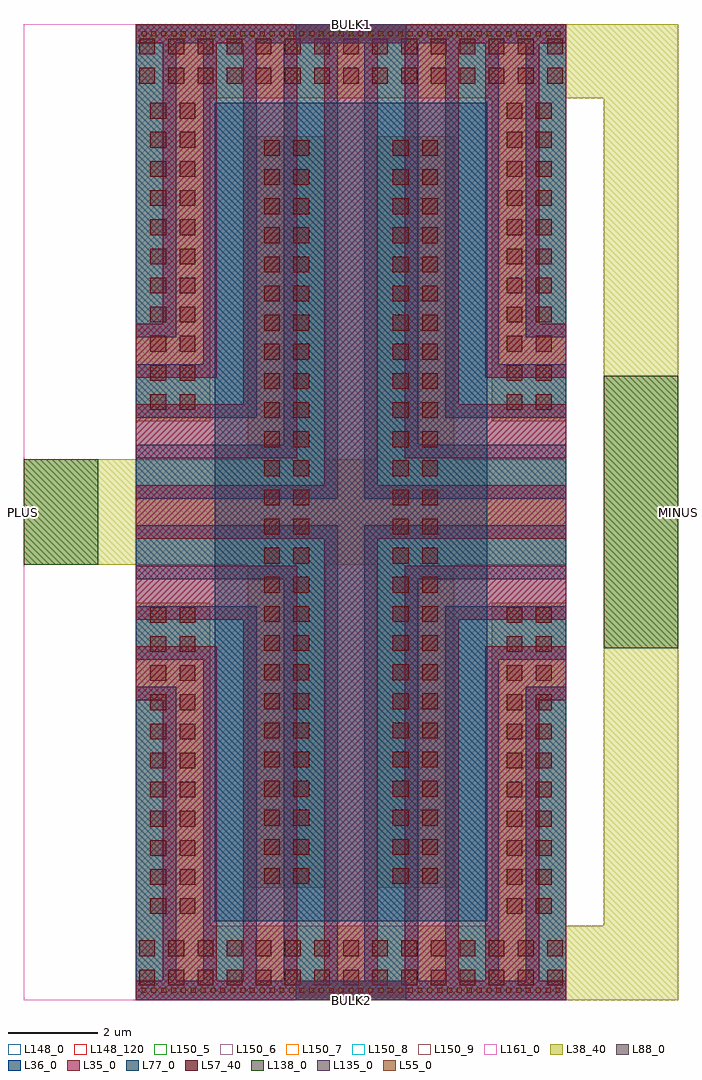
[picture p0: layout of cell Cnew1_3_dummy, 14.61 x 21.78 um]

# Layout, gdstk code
import gdstk
lib = gdstk.Library(unit=1e-6, precision=1e-09)
def R(c, l, rs):  # rectangles x0, y0, x1, y1
    for r in rs: c.add(gdstk.rectangle(r[:2], r[2:], *l))
def A(c, l, x, y, w, h, nx, ny, dx, dy):  # array of equal rectangles
    R(c, l, [(x+i*dx, y+j*dy, x+i*dx+w, y+j*dy+h) for i in range(nx) for j in range(ny)])
def P(c, l, *ps):  # polygons
    for p in ps: c.add(gdstk.Polygon(p, *l))
L35_0 = (35, 0)
L36_0 = (36, 0)
L38_40 = (38, 40)
L55_0 = (55, 0)
L57_40 = (57, 40)
L77_0 = (77, 0)
L88_0 = (88, 0)
L135_0 = (135, 0)
L138_0 = (138, 0)
L148_0 = (148, 0)
L148_120 = (148, 120)
L150_5 = (150, 5)
L150_6 = (150, 6)
L150_7 = (150, 7)
L150_8 = (150, 8)
L150_9 = (150, 9)
L161_0 = (161, 0)

cnew1_3_dummy = lib.new_cell('Cnew1_3_dummy')
R(cnew1_3_dummy, L35_0, [(-1.76,-1.76,-1.755,3.73), (-1.76,-1.76,7.85,-1.33), (-1.155,-1.76,0.045,5.53), (0.645,-1.76,1.845,7.33), (2.445,-1.76,3.645,20.02), (4.245,-1.76,5.445,7.33), (6.045,-1.76,7.245,5.53), (7.845,-1.76,7.85,3.73), (-1.76,3.13,-1.755,4.33), (7.845,3.13,7.85,4.33), (-1.76,4.93,0.045,6.13), (6.045,4.93,7.85,6.13), (-1.76,6.73,1.845,7.93), (4.245,6.73,7.85,7.93), (-1.76,8.53,7.85,9.73), (-1.76,10.33,1.845,11.53), (4.245,10.33,7.85,11.53), (0.645,10.93,1.845,20.02), (4.245,10.93,5.445,20.02), (-1.76,12.13,0.045,13.33), (6.045,12.13,7.85,13.33), (-1.155,12.73,0.045,20.02), (6.045,12.73,7.245,20.02), (-1.76,13.93,-1.755,15.13), (7.845,13.93,7.85,15.13), (-1.76,14.53,-1.755,20.02), (7.845,14.53,7.85,20.02), (-1.76,19.59,7.85,20.02)])
R(cnew1_3_dummy, L36_0, [(-1.76,-1.76,-0.855,4.63), (-1.76,-1.76,7.85,-1.33), (-0.255,-1.76,0.945,6.43), (1.545,-1.76,2.745,8.23), (3.345,-1.76,4.545,8.23), (5.145,-1.76,6.345,6.43), (6.945,-1.76,7.85,4.63), (-1.76,4.03,-0.855,5.23), (6.945,4.03,7.85,5.23), (-1.76,5.83,0.945,7.03), (5.145,5.83,7.85,7.03), (-1.76,7.63,2.745,8.83), (3.345,7.63,7.85,8.83), (-1.76,9.43,2.745,10.63), (3.345,9.43,7.85,10.63), (1.545,10.03,2.745,20.02), (3.345,10.03,4.545,20.02), (-1.76,11.23,0.945,12.43), (5.145,11.23,7.85,12.43), (-0.255,11.83,0.945,20.02), (5.145,11.83,6.345,20.02), (-1.76,13.03,-0.855,14.23), (6.945,13.03,7.85,14.23), (-1.76,13.63,-0.855,20.02), (6.945,13.63,7.85,20.02), (-1.76,19.59,7.85,20.02)])
R(cnew1_3_dummy, L38_40, [(7.85,-1.76,10.35,-0.1), (8.69,-1.76,10.35,20.02), (0.74,0.74,2.48,7.95), (3.61,0.74,5.35,7.95), (-4.26,7.95,7.85,10.31), (0.74,10.31,2.48,17.52), (0.74,10.31,2.48,17.52), (3.61,10.31,5.35,17.52), (3.61,10.31,5.35,17.52), (7.85,18.36,10.35,20.02)])
P(cnew1_3_dummy, L38_40, [(-0.1,18.36),(6.19,18.36),(6.19,11.15),(7.85,11.15),(7.85,20.02),(-1.76,20.02),(-1.76,11.15),(-0.1,11.15)],
  [(-1.76,7.11),(-1.76,-1.76),(7.85,-1.76),(7.85,7.11),(6.19,7.11),(6.19,-0.1),(-0.1,-0.1),(-0.1,7.11)])
A(cnew1_3_dummy, L55_0, -1.63, -1.6, 0.11, 0.11, 43, 2, 0.22, 21.35)
A(cnew1_3_dummy, L57_40, -1.68, -1.43, 0.35, 0.35, 15, 2, 0.65, 0.65)
A(cnew1_3_dummy, L57_40, -1.43, 0.16, 0.35, 0.35, 1, 11, 0, 0.65)
A(cnew1_3_dummy, L57_40, -0.78, 0.16, 0.35, 0.35, 1, 11, 0, 0.65)
A(cnew1_3_dummy, L57_40, 6.52, 0.16, 0.35, 0.35, 1, 11, 0, 0.65)
A(cnew1_3_dummy, L57_40, 7.17, 0.16, 0.35, 0.35, 1, 11, 0, 0.65)
A(cnew1_3_dummy, L57_40, 1.11, 0.83, 0.35, 0.35, 1, 26, 0, 0.65)
A(cnew1_3_dummy, L57_40, 1.76, 0.83, 0.35, 0.35, 1, 26, 0, 0.65)
A(cnew1_3_dummy, L57_40, 3.98, 0.83, 0.35, 0.35, 1, 26, 0, 0.65)
A(cnew1_3_dummy, L57_40, 4.63, 0.83, 0.35, 0.35, 1, 26, 0, 0.65)
A(cnew1_3_dummy, L57_40, -1.43, 11.41, 0.35, 0.35, 1, 11, 0, 0.65)
A(cnew1_3_dummy, L57_40, -0.78, 11.41, 0.35, 0.35, 1, 11, 0, 0.65)
A(cnew1_3_dummy, L57_40, 6.52, 11.41, 0.35, 0.35, 1, 11, 0, 0.65)
A(cnew1_3_dummy, L57_40, 7.17, 11.41, 0.35, 0.35, 1, 11, 0, 0.65)
A(cnew1_3_dummy, L57_40, -1.68, 18.69, 0.35, 0.35, 15, 2, 0.65, 0.65)
R(cnew1_3_dummy, L77_0, [(0,0,6.09,18.26)])
R(cnew1_3_dummy, L88_0, [(-1.76,-1.76,7.85,20.02)])
R(cnew1_3_dummy, L135_0, [(1.815,-1.76,4.275,-1.33), (1.815,19.59,4.275,20.02)])
R(cnew1_3_dummy, L138_0, [(8.69,6.085,10.35,12.175), (-4.26,7.95,-2.6,10.31)])
R(cnew1_3_dummy, L148_0, [(-4.26,-1.76,10.35,20.02)])
R(cnew1_3_dummy, L148_120, [(-4.26,-1.76,10.35,20.02)])
R(cnew1_3_dummy, L150_5, [(-4.26,-1.76,10.35,20.02)])
R(cnew1_3_dummy, L150_6, [(-4.26,-1.76,10.35,20.02)])
R(cnew1_3_dummy, L150_7, [(-4.26,-1.76,10.35,20.02)])
R(cnew1_3_dummy, L150_8, [(-4.26,-1.76,10.35,20.02)])
R(cnew1_3_dummy, L150_9, [(-4.26,-1.76,10.35,20.02)])
R(cnew1_3_dummy, L161_0, [(-4.26,-1.76,10.35,20.02)])
cnew1_3_dummy.add(gdstk.Label('BULK1', (3.045,20.02), layer=135, texttype=0))
cnew1_3_dummy.add(gdstk.Label('BULK2', (3.045,-1.76), layer=135, texttype=0))
cnew1_3_dummy.add(gdstk.Label('PLUS', (-4.26,9.13), layer=138, texttype=0))
cnew1_3_dummy.add(gdstk.Label('MINUS', (10.35,9.13), layer=138, texttype=0))

lib.write_gds('Cnew1_3_dummy.gds')
